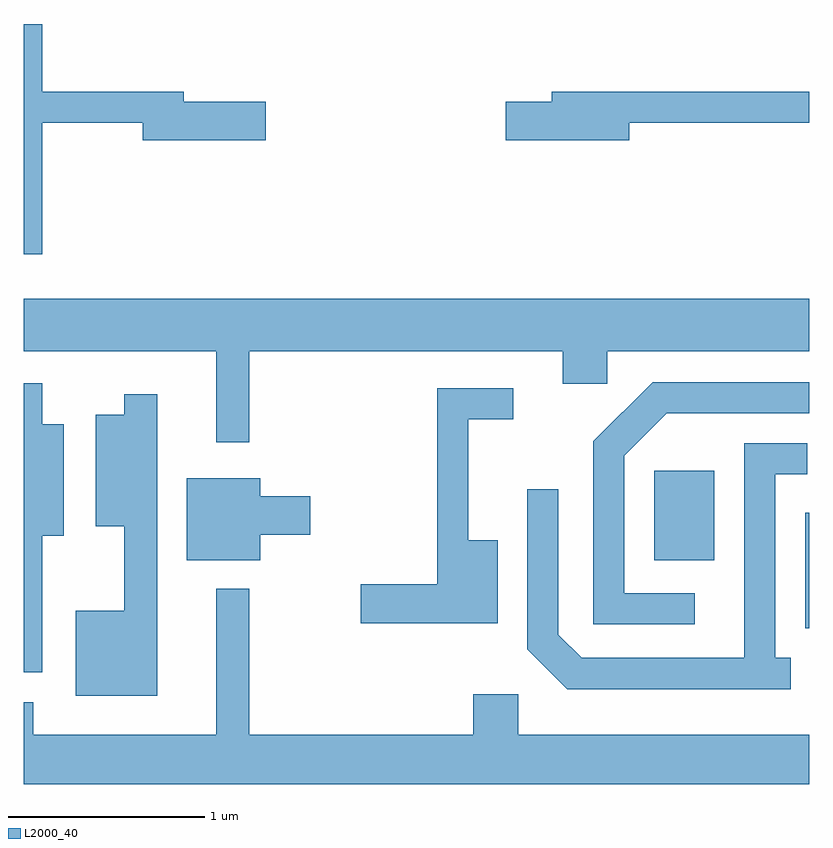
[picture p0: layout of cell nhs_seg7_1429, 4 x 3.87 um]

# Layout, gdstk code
import gdstk
lib = gdstk.Library(unit=1e-6, precision=1e-09)
def R(c, l, rs):  # rectangles x0, y0, x1, y1
    for r in rs: c.add(gdstk.rectangle(r[:2], r[2:], *l))
def P(c, l, *ps):  # polygons
    for p in ps: c.add(gdstk.Polygon(p, *l))
L2000_40 = (2000, 40)

nhs_seg7_1429 = lib.new_cell('nhs_seg7_1429')
R(nhs_seg7_1429, L2000_40, [(231.591,1795.046,231.611,1795.633), (230.821,1795.391,231.129,1795.849)])
P(nhs_seg7_1429, L2000_40, [(227.704,1797.621),(228.216,1797.621),(228.216,1797.531),(228.844,1797.531),(228.844,1797.729),(228.424,1797.729),(228.424,1797.779),(227.704,1797.779),(227.704,1798.124),(227.611,1798.124),(227.611,1796.951),(227.704,1796.951)],
  [(230.694,1797.621),(231.611,1797.621),(231.611,1797.779),(230.301,1797.779),(230.301,1797.729),(230.066,1797.729),(230.066,1797.531),(230.694,1797.531)],
  [(228.759,1796.456),(230.356,1796.456),(230.356,1796.291),(230.584,1796.291),(230.584,1796.456),(231.611,1796.456),(231.611,1796.724),(227.611,1796.724),(227.611,1796.456),(228.591,1796.456),(228.591,1795.993),(228.759,1795.993)],
  [(231.028,1795.224),(230.669,1795.224),(230.669,1795.924),(230.887,1796.141),(231.611,1796.141),(231.611,1796.299),(230.814,1796.299),(230.511,1795.997),(230.511,1795.066),(231.028,1795.066)],
  [(227.704,1795.516),(227.814,1795.516),(227.814,1796.084),(227.704,1796.084),(227.704,1796.294),(227.611,1796.294),(227.611,1794.821),(227.704,1794.821)],
  [(230.024,1795.494),(229.874,1795.494),(229.874,1796.111),(230.103,1796.111),(230.103,1796.269),(229.716,1796.269),(229.716,1795.269),(229.326,1795.269),(229.326,1795.071),(230.024,1795.071)],
  [(228.289,1796.238),(228.121,1796.238),(228.121,1796.134),(227.976,1796.134),(227.976,1795.566),(228.121,1795.566),(228.121,1795.134),(227.876,1795.134),(227.876,1794.701),(228.289,1794.701)],
  [(231.518,1794.894),(231.439,1794.894),(231.439,1795.831),(231.603,1795.831),(231.603,1795.989),(231.281,1795.989),(231.281,1794.894),(230.452,1794.894),(230.334,1795.012),(230.334,1795.753),(230.176,1795.753),(230.176,1794.939),(230.379,1794.736),(231.518,1794.736)],
  [(228.814,1795.521),(229.069,1795.521),(229.069,1795.719),(228.814,1795.719),(228.814,1795.809),(228.441,1795.809),(228.441,1795.391),(228.814,1795.391)],
  [(231.611,1794.504),(230.129,1794.504),(230.129,1794.709),(229.901,1794.709),(229.901,1794.504),(228.759,1794.504),(228.759,1795.248),(228.591,1795.248),(228.591,1794.504),(227.659,1794.504),(227.659,1794.669),(227.611,1794.669),(227.611,1794.252),(231.611,1794.252)])

lib.write_gds('nhs_seg7_1429.gds')
